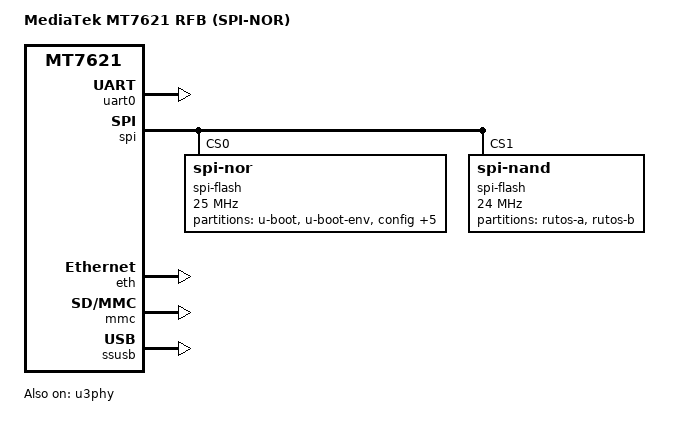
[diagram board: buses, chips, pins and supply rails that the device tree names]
// SPDX-License-Identifier: GPL-2.0
/*
 * Copyright (C) 2022 MediaTek Inc. All rights reserved.
 *
 * Author: Weijie Gao <weijie.gao@mediatek.com>
 */

/dts-v1/;

#include "mt7621.dtsi"

/ {
	compatible = "mediatek,mt7621-rfb", "mediatek,mt7621-soc";
	model = "MediaTek MT7621 RFB (SPI-NOR)";

	aliases {
		serial0 = &uart0;
		spi0 = &spi;
	};

	chosen {
		stdout-path = &uart0;
	};
};

&pinctrl {
	state_default: pin_state {
		gpios {
			groups = "i2c", "uart3", "pcie reset";
			function = "gpio";
		};

		wdt {
			groups = "wdt";
			function = "wdt rst";
		};

		jtag {
			groups = "jtag";
			function = "jtag";
		};
	};
};

&uart0 {
	status = "okay";
};

&gpio {
	status = "okay";
};

&spi {
	status = "okay";
	num-cs = <2>;

	spi-flash@0 {
		#address-cells = <1>;
		#size-cells = <1>;
		compatible = "jedec,spi-nor";
		spi-max-frequency = <25000000>;
		reg = <0>;

		partitions {
			compatible = "fixed-partitions";
			#address-cells = <1>;
			#size-cells = <1>;

			partition@0 {
				label = "u-boot";
				reg = <0x0 0x80000>;
			};

			partition@80000 {
				label = "u-boot-env";
				reg = <0x80000 0x10000>;
			};

			partition@90000 {
				label = "config";
				reg = <0x90000 0x10000>;
			};

			partition@a0000 {
				label = "bootconfig-a";
				reg = <0xa0000 0x10000>;
			};

			partition@b0000 {
				label = "bootconfig-b";
				reg = <0xb0000 0x10000>;
			};
			
			partition@c0000 {
				label = "factory";
				reg = <0xc0000 0x10000>;
			};

			partition@d0000 {
				label = "event-log";
				reg = <0xd0000 0x90000>;
			};

			partition@400000 {
				label = "recovery";
				reg = <0x200000 0xe00000>;
			};
		};
	};

	spi-flash@1 {
		#address-cells = <1>;
		#size-cells = <1>;
		compatible = "spi-nand";
		spi-max-frequency = <24000000>;
		reg = <1>;

		partitions {
			compatible = "fixed-partitions";
			#address-cells = <1>;
			#size-cells = <1>;

			partition@0 {
				label = "rutos-a";
				reg = <0x00000000 0x08000000>;
			};

			partition@8000000 {
				label = "rutos-b";
				reg = <0x08000000 0x08000000>;
			};
		};
	};
};

&eth {
	status = "okay";
};

&mmc {
	cap-sd-highspeed;

	status = "okay";
};

&ssusb {
	status = "okay";
};

&u3phy {
	status = "okay";
};
